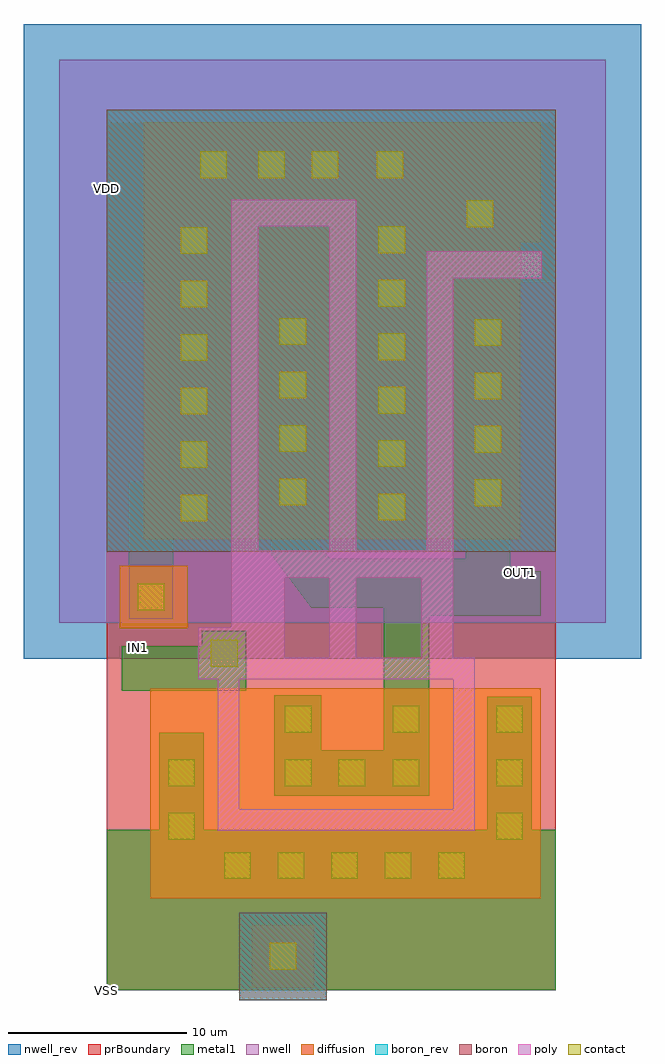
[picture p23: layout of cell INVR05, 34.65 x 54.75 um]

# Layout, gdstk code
import gdstk
lib = gdstk.Library(unit=1e-6, precision=1e-09)
def R(c, l, rs):  # rectangles x0, y0, x1, y1
    for r in rs: c.add(gdstk.rectangle(r[:2], r[2:], *l))
def A(c, l, x, y, w, h, nx, ny, dx, dy):  # array of equal rectangles
    R(c, l, [(x+i*dx, y+j*dy, x+i*dx+w, y+j*dy+h) for i in range(nx) for j in range(ny)])
def P(c, l, *ps):  # polygons
    for p in ps: c.add(gdstk.Polygon(p, *l))
nwell = (1, 0)
diffusion = (2, 0)
nwell_rev = (3, 0)
poly = (4, 0)
boron = (5, 0)
boron_rev = (6, 0)
contact = (7, 0)
metal1 = (8, 0)
prBoundary = (28, 0)

invr05 = lib.new_cell('INVR05')
R(invr05, nwell, [(-2.65,20.6,28,52.2)])
R(invr05, diffusion, [(8.15,0.15,11.65,3.65), (2.45,5.15,24.35,16.95), (0.75,20.3,4.55,23.8)])
P(invr05, diffusion, [(2.1,25.3),(2.1,48.7),(24.35,48.7),(24.35,41.95),(23.2,41.95),(23.2,25.3)])
R(invr05, nwell_rev, [(-4.65,18.6,30,54.2)])
P(invr05, poly, [(6.25,8.95),(6.25,17.45),(5.15,17.45),(5.15,20.35),(7,20.35),(7,44.35),(12.5,44.35),(12.5,42.85),(8.5,42.85),(8.5,24.65),(12.5,24.65),(12.5,23.15),(10,23.15),(10,18.65),(12.5,18.65),(12.5,44.35),(14,44.35),(14,24.65),(17.65,24.65),(17.65,23.15),(14,23.15),(14,18.65),(17.65,18.65),(17.65,24.65),(17.95,24.65),(17.95,41.45),(24.4,41.45),(24.4,39.95),(19.45,39.95),(19.45,17.45),(7.45,17.45),(7.45,10.15),(19.45,10.15),(19.45,18.65),(20.65,18.65),(20.65,8.95)])
R(invr05, boron, [(7.45,-0.55,12.35,4.35), (0,24.6,25.2,49.4)])
R(invr05, boron_rev, [(7.45,-0.55,12.35,4.35), (0,24.6,25.2,49.4)])
A(invr05, contact, 6.6, 6.25, 1.5, 1.5, 5, 1, 3, 0)
A(invr05, contact, 21.85, 8.45, 1.5, 1.5, 1, 3, 0, 3)
A(invr05, contact, 4.15, 26.3, 1.5, 1.5, 1, 6, 0, 3)
A(invr05, contact, 15.25, 26.35, 1.5, 1.5, 1, 6, 0, 3)
A(invr05, contact, 20.65, 27.15, 1.5, 1.5, 1, 4, 0, 3)
A(invr05, contact, 9.7, 27.2, 1.5, 1.5, 1, 4, 0, 3)
R(invr05, contact, [(9.15,1.15,10.65,2.65), (3.45,8.45,4.95,9.95), (3.45,11.45,4.95,12.95), (10,11.45,11.5,12.95), (13,11.45,14.5,12.95), (16.05,11.45,17.55,12.95), (10,14.45,11.5,15.95), (16.05,14.45,17.55,15.95), (5.85,18.15,7.35,19.65), (1.75,21.3,3.25,22.8), (20.2,42.8,21.7,44.3), (5.25,45.55,6.75,47.05), (8.5,45.55,10,47.05), (11.5,45.55,13,47.05), (15.15,45.55,16.65,47.05)])
R(invr05, metal1, [(0,0,25.2,9), (0,39.7,25.2,48.7)])
P(invr05, metal1, [(1.25,20.8),(1.25,28.55),(3.5,28.55),(3.5,39.7),(0,39.7),(0,48.7),(25.2,48.7),(25.2,39.7),(17.3,39.7),(17.3,25.7),(14.75,25.7),(14.75,39.7),(6.15,39.7),(6.15,25.8),(3.75,25.8),(3.75,20.8)],
  [(0,0),(0,9),(2.95,9),(2.95,14.45),(5.45,14.45),(5.45,9),(21.35,9),(21.35,16.45),(23.85,16.45),(23.85,9),(25.2,9),(25.2,0)],
  [(0.85,16.8),(0.85,19.3),(5.35,19.3),(5.35,20.15),(7.85,20.15),(7.85,16.8)],
  [(9.4,10.9),(9.4,16.55),(12.05,16.55),(12.05,13.45),(15.55,13.45),(15.55,21.45),(11.473,21.45),(9.2,24.469),(9.2,38.2),(11.7,38.2),(11.7,25.304),(12.532,24.2),(20.15,24.2),(20.15,38.15),(22.65,38.15),(22.65,23.5),(24.35,23.5),(24.35,21),(18.1,21),(18.1,10.9)])
R(invr05, prBoundary, [(0,0,25.2,48.7)])
invr05.add(gdstk.Label('VSS', (0.001,0.001), layer=8, texttype=7))
invr05.add(gdstk.Label('VDD', (0.002,45), layer=8, texttype=7))
invr05.add(gdstk.Label('IN1', (1.8,19.25), layer=8, texttype=7))
invr05.add(gdstk.Label('OUT1', (23.2,23.45), layer=8, texttype=7))

lib.write_gds('INVR05.gds')
